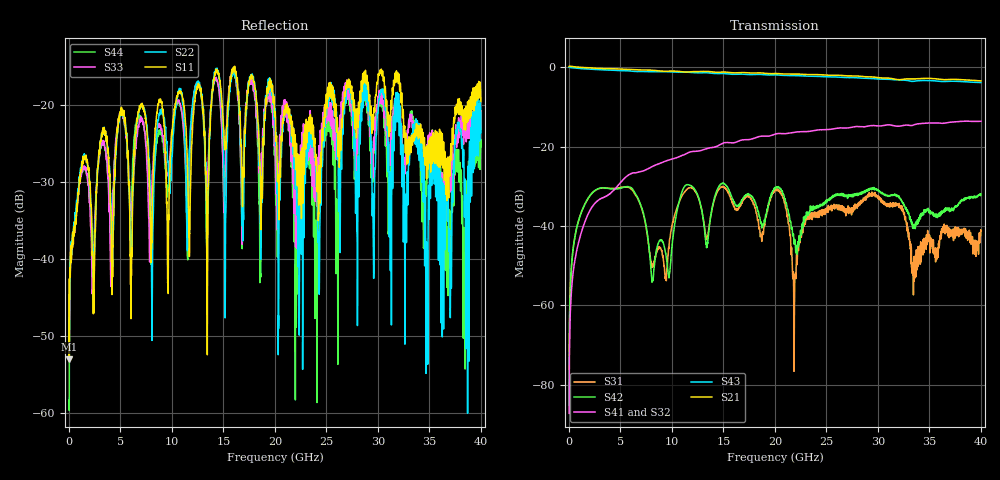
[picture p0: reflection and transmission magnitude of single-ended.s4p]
!Agilent Technologies,N5224A,MY51441484,A.10.20.03
!Agilent N5224A: A.10.20.03
!Date: Friday, January 19, 2018 16:04:45
!Correction: S11(Full 4 Port(1,2,3,4))
!S12(Full 4 Port(1,2,3,4))
!S13(Full 4 Port(1,2,3,4))
!S14(Full 4 Port(1,2,3,4))
!S21(Full 4 Port(1,2,3,4))
!S22(Full 4 Port(1,2,3,4))
!S23(Full 4 Port(1,2,3,4))
!S24(Full 4 Port(1,2,3,4))
!S31(Full 4 Port(1,2,3,4))
!S32(Full 4 Port(1,2,3,4))
!S33(Full 4 Port(1,2,3,4))
!S34(Full 4 Port(1,2,3,4))
!S41(Full 4 Port(1,2,3,4))
!S42(Full 4 Port(1,2,3,4))
!S43(Full 4 Port(1,2,3,4))
!S44(Full 4 Port(1,2,3,4))
!S4P File: Measurements: <S11,S12,S13,S14>,
!<S21,S22,S23,S24>,
!<S31,S32,S33,S34>,
!<S41,S42,S43,S44>:
# Hz S  dB  R 50
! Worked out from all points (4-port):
!   4000 points, 10 MHz to 40 GHz, reference 50 ohm
!   strongest paths, dB at 10 MHz, 10.01 GHz, 20.01 GHz, 30.01 GHz, 40 GHz:
!     S21: 0.2, -0.9, -1.6, -2.6, -3.4
!     S43: 0.0, -1.2, -1.9, -3.0, -3.8
!     S41: -87.2, -23.1, -16.8, -14.8, -13.6
!     S32: -91.8, -23.2, -16.9, -14.9, -13.6
!     S42: -85.3, -44.6, -30.3, -30.9, -31.9
!     S31: -76.1, -39.8, -30.9, -32.6, -41.2
!   lowest |S11| = -53.0 dB at 20 MHz (marker M1), VSWR 1.00, Z = 50.2 - j0.0181 ohm
!   |S11| at or under -10 dB: start of sweep to end of sweep
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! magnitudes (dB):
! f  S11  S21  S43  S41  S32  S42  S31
! 10 MHz  -42.6  0.2  0.0  -87.2  -91.8  -85.3  -76.1
! 20 MHz  -53.0  0.2  0.0  -80.2  -80.3  -71.7  -71.6
! 1.26 GHz  -27.5  0.0  -0.3  -41.0  -41.1  -36.1  -36.1
! 5.85 GHz  -30.9  -0.5  -0.9  -27.0  -27.3  -30.2  -30.3
! 8.11 GHz  -31.7  -0.7  -1.1  -25.0  -25.0  -53.7  -49.8
! 11.47 GHz  -26.2  -1.2  -1.2  -21.6  -21.3  -29.6  -30.7
! 40 GHz  -19.6  -3.4  -3.8  -13.6  -13.6  -31.9  -41.2
